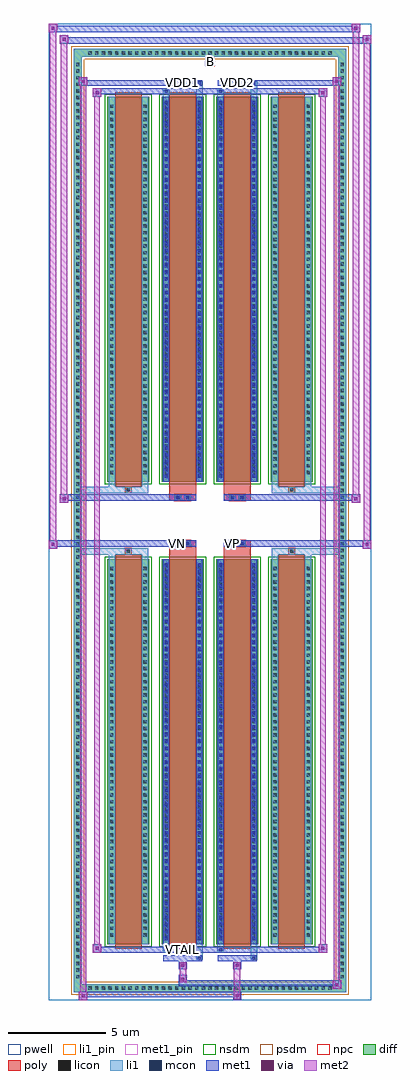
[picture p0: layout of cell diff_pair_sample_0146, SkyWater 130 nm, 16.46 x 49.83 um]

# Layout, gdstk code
import gdstk
lib = gdstk.Library(unit=1e-6, precision=5e-09)
def R(c, l, rs):  # rectangles x0, y0, x1, y1
    for r in rs: c.add(gdstk.rectangle(r[:2], r[2:], *l))
def A(c, l, x, y, w, h, nx, ny, dx, dy):  # array of equal rectangles
    R(c, l, [(x+i*dx, y+j*dy, x+i*dx+w, y+j*dy+h) for i in range(nx) for j in range(ny)])
def P(c, l, *ps):  # polygons
    for p in ps: c.add(gdstk.Polygon(p, *l))
pwell = (64, 44)
diff = (65, 20)
poly = (66, 20)
licon = (66, 44)
li1_pin = (67, 16)
li1 = (67, 20)
mcon = (67, 44)
met1_pin = (68, 16)
met1 = (68, 20)
via = (68, 44)
met2 = (69, 20)
nsdm = (93, 44)
psdm = (94, 20)
npc = (95, 20)

diff_pair_sample_0146 = lib.new_cell('diff_pair_sample_0146')
R(diff_pair_sample_0146, pwell, [(-8.23,-24.48,8.23,25.35), (-5.55,-22.67,-0.01,-0.805), (0.01,-22.67,5.55,-0.805), (-5.55,0.805,-0.01,22.67), (0.01,0.805,5.55,22.67)])
A(diff_pair_sample_0146, diff, -6.325, -24.08, 0.41, 0.41, 37, 2, 0.34, 47.75)
A(diff_pair_sample_0146, diff, -6.96, -23.495, 0.41, 0.41, 1, 138, 0, 0.34)
A(diff_pair_sample_0146, diff, 6.55, -23.495, 0.41, 0.41, 1, 138, 0, 0.34)
A(diff_pair_sample_0146, diff, -5.24, -21.625, 2.14, 19.64, 4, 2, 2.78, 23.61)
R(diff_pair_sample_0146, diff, [(-6.325,-24.08,6.325,-23.67), (-6.96,-23.495,-6.55,23.495), (6.55,-23.495,6.96,23.495), (-6.325,23.67,6.325,24.08)])
P(diff_pair_sample_0146, diff, [(6.96,24.08),(-6.96,24.08),(-6.96,-23.67),(-6.55,-23.67),(-6.55,23.67),(6.55,23.67),(6.55,-23.67),(-6.55,-23.67),(-6.96,-23.67),(-6.96,-24.08),(6.96,-24.08)])
A(diff_pair_sample_0146, poly, -4.85, -21.875, 1.36, 20.14, 4, 2, 2.78, 23.61)
R(diff_pair_sample_0146, poly, [(-4.335,-1.735,-4.005,-1.405), (-4.335,-1.735,-4.005,-1.405), (-2.07,-1.735,-0.71,-1.335), (0.71,-1.735,2.07,-1.335), (4.005,-1.735,4.335,-1.405), (4.005,-1.735,4.335,-1.405), (-2.07,-1.335,-0.71,-1.005), (-1.805,-1.335,-1.475,-1.005), (-1.305,-1.335,-0.975,-1.005), (0.71,-1.335,2.07,-1.005), (0.975,-1.335,1.305,-1.005), (1.475,-1.335,1.805,-1.005), (-2.07,1.005,-0.71,1.335), (-1.805,1.005,-1.475,1.335), (-1.305,1.005,-0.975,1.335), (0.71,1.005,2.07,1.335), (0.975,1.005,1.305,1.335), (1.475,1.005,1.805,1.335), (-2.07,1.335,-0.71,1.735), (0.71,1.335,2.07,1.735), (-4.335,1.405,-4.005,1.735), (-4.335,1.405,-4.005,1.735), (4.005,1.405,4.335,1.735), (4.005,1.405,4.335,1.735)])
A(diff_pair_sample_0146, licon, -6.205, -23.96, 0.17, 0.17, 37, 2, 0.34, 47.75)
A(diff_pair_sample_0146, licon, -6.84, -23.375, 0.17, 0.17, 1, 138, 0, 0.34)
A(diff_pair_sample_0146, licon, 6.67, -23.375, 0.17, 0.17, 1, 138, 0, 0.34)
A(diff_pair_sample_0146, licon, -5.1, -21.24, 0.17, 0.17, 1, 56, 0, 0.34)
A(diff_pair_sample_0146, licon, -3.41, -21.24, 0.17, 0.17, 1, 56, 0, 0.34)
A(diff_pair_sample_0146, licon, -2.32, -21.24, 0.17, 0.17, 1, 56, 0, 0.34)
A(diff_pair_sample_0146, licon, -0.63, -21.24, 0.17, 0.17, 1, 56, 0, 0.34)
A(diff_pair_sample_0146, licon, 0.46, -21.24, 0.17, 0.17, 1, 56, 0, 0.34)
A(diff_pair_sample_0146, licon, 2.15, -21.24, 0.17, 0.17, 1, 56, 0, 0.34)
A(diff_pair_sample_0146, licon, 3.24, -21.24, 0.17, 0.17, 1, 56, 0, 0.34)
A(diff_pair_sample_0146, licon, 4.93, -21.24, 0.17, 0.17, 1, 56, 0, 0.34)
A(diff_pair_sample_0146, licon, -5.1, 2.37, 0.17, 0.17, 1, 56, 0, 0.34)
A(diff_pair_sample_0146, licon, -3.41, 2.37, 0.17, 0.17, 1, 56, 0, 0.34)
A(diff_pair_sample_0146, licon, -2.32, 2.37, 0.17, 0.17, 1, 56, 0, 0.34)
A(diff_pair_sample_0146, licon, -0.63, 2.37, 0.17, 0.17, 1, 56, 0, 0.34)
A(diff_pair_sample_0146, licon, 0.46, 2.37, 0.17, 0.17, 1, 56, 0, 0.34)
A(diff_pair_sample_0146, licon, 2.15, 2.37, 0.17, 0.17, 1, 56, 0, 0.34)
A(diff_pair_sample_0146, licon, 3.24, 2.37, 0.17, 0.17, 1, 56, 0, 0.34)
A(diff_pair_sample_0146, licon, 4.93, 2.37, 0.17, 0.17, 1, 56, 0, 0.34)
R(diff_pair_sample_0146, licon, [(-4.255,-1.655,-4.085,-1.485), (4.085,-1.655,4.255,-1.485), (-1.725,-1.255,-1.555,-1.085), (-1.225,-1.255,-1.055,-1.085), (1.055,-1.255,1.225,-1.085), (1.555,-1.255,1.725,-1.085), (-1.725,1.085,-1.555,1.255), (-1.225,1.085,-1.055,1.255), (1.055,1.085,1.225,1.255), (1.555,1.085,1.725,1.255), (-4.255,1.485,-4.085,1.655), (4.085,1.485,4.255,1.655)])
R(diff_pair_sample_0146, li1_pin, [(-0.25,23.17,0.25,23.67)])
A(diff_pair_sample_0146, li1, -6.285, -24.04, 0.33, 0.33, 37, 2, 0.34, 47.75)
A(diff_pair_sample_0146, li1, -6.92, -23.455, 0.33, 0.33, 1, 138, 0, 0.34)
A(diff_pair_sample_0146, li1, 6.59, -23.455, 0.33, 0.33, 1, 138, 0, 0.34)
A(diff_pair_sample_0146, li1, -2.32, -21.43, 0.17, 0.17, 1, 54, 0, 0.36)
A(diff_pair_sample_0146, li1, -0.63, -21.43, 0.17, 0.17, 1, 54, 0, 0.36)
A(diff_pair_sample_0146, li1, 0.46, -21.43, 0.17, 0.17, 1, 54, 0, 0.36)
A(diff_pair_sample_0146, li1, 2.15, -21.43, 0.17, 0.17, 1, 54, 0, 0.36)
A(diff_pair_sample_0146, li1, -5.18, -21.32, 0.33, 0.33, 1, 56, 0, 0.34)
A(diff_pair_sample_0146, li1, -3.49, -21.32, 0.33, 0.33, 1, 56, 0, 0.34)
A(diff_pair_sample_0146, li1, -2.4, -21.32, 0.33, 0.33, 1, 56, 0, 0.34)
A(diff_pair_sample_0146, li1, -0.71, -21.32, 0.33, 0.33, 1, 56, 0, 0.34)
A(diff_pair_sample_0146, li1, 0.38, -21.32, 0.33, 0.33, 1, 56, 0, 0.34)
A(diff_pair_sample_0146, li1, 2.07, -21.32, 0.33, 0.33, 1, 56, 0, 0.34)
A(diff_pair_sample_0146, li1, 3.16, -21.32, 0.33, 0.33, 1, 56, 0, 0.34)
A(diff_pair_sample_0146, li1, 4.85, -21.32, 0.33, 0.33, 1, 56, 0, 0.34)
A(diff_pair_sample_0146, li1, -2.32, 2.18, 0.17, 0.17, 1, 54, 0, 0.36)
A(diff_pair_sample_0146, li1, -0.63, 2.18, 0.17, 0.17, 1, 54, 0, 0.36)
A(diff_pair_sample_0146, li1, 0.46, 2.18, 0.17, 0.17, 1, 54, 0, 0.36)
A(diff_pair_sample_0146, li1, 2.15, 2.18, 0.17, 0.17, 1, 54, 0, 0.36)
A(diff_pair_sample_0146, li1, -5.18, 2.29, 0.33, 0.33, 1, 56, 0, 0.34)
A(diff_pair_sample_0146, li1, -3.49, 2.29, 0.33, 0.33, 1, 56, 0, 0.34)
A(diff_pair_sample_0146, li1, -2.4, 2.29, 0.33, 0.33, 1, 56, 0, 0.34)
A(diff_pair_sample_0146, li1, -0.71, 2.29, 0.33, 0.33, 1, 56, 0, 0.34)
A(diff_pair_sample_0146, li1, 0.38, 2.29, 0.33, 0.33, 1, 56, 0, 0.34)
A(diff_pair_sample_0146, li1, 2.07, 2.29, 0.33, 0.33, 1, 56, 0, 0.34)
A(diff_pair_sample_0146, li1, 3.16, 2.29, 0.33, 0.33, 1, 56, 0, 0.34)
A(diff_pair_sample_0146, li1, 4.85, 2.29, 0.33, 0.33, 1, 56, 0, 0.34)
R(diff_pair_sample_0146, li1, [(-6.96,-24.08,-6.55,-23.67), (-6.96,-24.08,-6.55,-23.67), (-6.55,-24.08,6.55,-23.67), (6.55,-24.08,6.96,-23.67), (6.55,-24.08,6.96,-23.67), (-6.96,-23.67,-6.55,23.67), (6.55,-23.67,6.96,23.67), (-0.71,-22.43,-0.38,-21.625), (-0.63,-22.43,-0.46,-22.26), (2.07,-22.43,2.4,-21.625), (2.15,-22.43,2.32,-22.26), (-2.4,-22,-2.07,-21.625), (-2.32,-22,-2.15,-21.83), (0.38,-22,0.71,-21.625), (0.46,-22,0.63,-21.83), (-5.18,-21.625,-4.85,-1.985), (-3.49,-21.625,-3.16,-1.985), (-2.4,-21.625,-2.07,-1.985), (-0.71,-21.625,-0.38,-1.985), (0.38,-21.625,0.71,-1.985), (2.07,-21.625,2.4,-1.985), (3.16,-21.625,3.49,-1.985), (4.85,-21.625,5.18,-1.985), (-2.32,-21.43,-2.15,-2.18), (-0.63,-21.43,-0.46,-2.18), (0.46,-21.43,0.63,-2.18), (2.15,-21.43,2.32,-2.18), (-5.18,-1.985,-4.85,-1.405), (-3.49,-1.985,-3.16,-1.405), (3.16,-1.985,3.49,-1.405), (4.85,-1.985,5.18,-1.405), (-6.96,-1.735,-4.335,-1.405), (-5.18,-1.735,-4.335,-1.405), (-4.335,-1.735,-4.005,-1.405), (-4.005,-1.735,-3.16,-1.405), (3.16,-1.735,4.005,-1.405), (4.005,-1.735,4.335,-1.405), (4.005,-1.735,6.96,-1.405), (4.335,-1.735,5.18,-1.405), (-1.805,-1.335,-1.475,-1.005), (-1.305,-1.335,-0.975,-1.005), (0.975,-1.335,1.305,-1.005), (1.475,-1.335,1.805,-1.005), (-1.805,1.005,-1.475,1.335), (-1.305,1.005,-0.975,1.335), (0.975,1.005,1.305,1.335), (1.475,1.005,1.805,1.335), (-6.96,1.405,-4.335,1.735), (-5.18,1.405,-4.335,1.735), (-5.18,1.405,-4.85,1.985), (-4.335,1.405,-4.005,1.735), (-4.005,1.405,-3.16,1.735), (-3.49,1.405,-3.16,1.985), (3.16,1.405,4.005,1.735), (3.16,1.405,3.49,1.985), (4.005,1.405,4.335,1.735), (4.005,1.405,6.96,1.735), (4.335,1.405,5.18,1.735), (4.85,1.405,5.18,1.985), (-5.18,1.985,-4.85,21.625), (-3.49,1.985,-3.16,21.625), (-2.4,1.985,-2.07,21.625), (-0.71,1.985,-0.38,21.625), (0.38,1.985,0.71,21.625), (2.07,1.985,2.4,21.625), (3.16,1.985,3.49,21.625), (4.85,1.985,5.18,21.625), (-2.32,2.18,-2.15,21.43), (-0.63,2.18,-0.46,21.43), (0.46,2.18,0.63,21.43), (2.15,2.18,2.32,21.43), (-2.4,21.625,-2.07,22), (-0.71,21.625,-0.38,22.43), (0.38,21.625,0.71,22), (2.07,21.625,2.4,22.43), (-2.32,21.83,-2.15,22), (0.46,21.83,0.63,22), (-0.63,22.26,-0.46,22.43), (2.15,22.26,2.32,22.43), (-6.96,23.67,-6.55,24.08), (-6.96,23.67,-6.55,24.08), (-6.55,23.67,6.55,24.08), (6.55,23.67,6.96,24.08), (6.55,23.67,6.96,24.08)])
A(diff_pair_sample_0146, mcon, -2.32, -21.43, 0.17, 0.17, 1, 54, 0, 0.36)
A(diff_pair_sample_0146, mcon, -0.63, -21.43, 0.17, 0.17, 1, 54, 0, 0.36)
A(diff_pair_sample_0146, mcon, 0.46, -21.43, 0.17, 0.17, 1, 54, 0, 0.36)
A(diff_pair_sample_0146, mcon, 2.15, -21.43, 0.17, 0.17, 1, 54, 0, 0.36)
A(diff_pair_sample_0146, mcon, -2.32, 2.18, 0.17, 0.17, 1, 54, 0, 0.36)
A(diff_pair_sample_0146, mcon, -0.63, 2.18, 0.17, 0.17, 1, 54, 0, 0.36)
A(diff_pair_sample_0146, mcon, 0.46, 2.18, 0.17, 0.17, 1, 54, 0, 0.36)
A(diff_pair_sample_0146, mcon, 2.15, 2.18, 0.17, 0.17, 1, 54, 0, 0.36)
R(diff_pair_sample_0146, mcon, [(-0.63,-22.43,-0.46,-22.26), (2.15,-22.43,2.32,-22.26), (-2.32,-22,-2.15,-21.83), (0.46,-22,0.63,-21.83), (-1.725,-1.255,-1.555,-1.085), (-1.225,-1.255,-1.055,-1.085), (1.055,-1.255,1.225,-1.085), (1.555,-1.255,1.725,-1.085), (-1.725,1.085,-1.555,1.255), (-1.225,1.085,-1.055,1.255), (1.055,1.085,1.225,1.255), (1.555,1.085,1.725,1.255), (-2.32,21.83,-2.15,22), (0.46,21.83,0.63,22), (-0.63,22.26,-0.46,22.43), (2.15,22.26,2.32,22.43)])
R(diff_pair_sample_0146, met1_pin, [(-1.525,-22.04,-1.255,-21.77), (-1.775,-1.295,-1.505,-1.025), (1.005,-1.295,1.275,-1.025), (-1.525,22.22,-1.255,22.49), (1.255,22.22,1.525,22.49)])
A(diff_pair_sample_0146, met1, -2.38, -21.49, 0.29, 0.29, 1, 54, 0, 0.36)
A(diff_pair_sample_0146, met1, -0.69, -21.49, 0.29, 0.29, 1, 54, 0, 0.36)
A(diff_pair_sample_0146, met1, 0.4, -21.49, 0.29, 0.29, 1, 54, 0, 0.36)
A(diff_pair_sample_0146, met1, 2.09, -21.49, 0.29, 0.29, 1, 54, 0, 0.36)
A(diff_pair_sample_0146, met1, -2.38, 2.12, 0.29, 0.29, 1, 54, 0, 0.36)
A(diff_pair_sample_0146, met1, -0.69, 2.12, 0.29, 0.29, 1, 54, 0, 0.36)
A(diff_pair_sample_0146, met1, 0.4, 2.12, 0.29, 0.29, 1, 54, 0, 0.36)
A(diff_pair_sample_0146, met1, 2.09, 2.12, 0.29, 0.29, 1, 54, 0, 0.36)
R(diff_pair_sample_0146, met1, [(-6.69,-24.48,-6.26,-24.05), (1.175,-24.48,1.605,-24.05), (-6.69,-24.34,1.605,-24.05), (6.26,-23.91,6.69,-23.48), (-1.605,-23.77,6.69,-23.48), (-1.605,-23.63,-1.175,-23.2), (-1.605,-22.92,-1.175,-22.49), (1.175,-22.92,1.605,-22.49), (-2.38,-22.49,-0.4,-22.2), (-0.69,-22.49,-0.4,-22.2), (0.4,-22.49,2.38,-22.2), (2.09,-22.49,2.38,-22.2), (-5.98,-22.06,-5.55,-21.63), (-5.98,-22.06,-2.38,-21.77), (-2.38,-22.06,-2.09,-21.77), (-2.38,-22.06,-0.4,-21.77), (-0.4,-22.06,0.4,-21.77), (0.4,-22.06,0.69,-21.77), (0.4,-22.06,2.38,-21.77), (2.38,-22.06,5.98,-21.77), (5.55,-22.06,5.98,-21.63), (-2.38,-21.625,-2.09,-1.985), (-0.69,-21.625,-0.4,-1.985), (0.4,-21.625,0.69,-1.985), (2.09,-21.625,2.38,-1.985), (-8.23,-1.435,-7.8,-1.005), (7.8,-1.435,8.23,-1.005), (-8.23,-1.335,-0.71,-1.005), (-2.07,-1.335,-0.71,-1.005), (0.71,-1.335,2.07,-1.005), (0.71,-1.335,8.23,-1.005), (-1.785,-1.315,-1.495,-1.025), (-1.285,-1.315,-0.995,-1.025), (0.995,-1.315,1.285,-1.025), (1.495,-1.315,1.785,-1.025), (-7.66,0.905,-7.23,1.335), (7.23,0.905,7.66,1.335), (-7.66,1.005,-2.07,1.335), (-2.07,1.005,-0.71,1.335), (0.71,1.005,2.07,1.335), (2.07,1.005,7.66,1.335), (-1.785,1.025,-1.495,1.315), (-1.285,1.025,-0.995,1.315), (0.995,1.025,1.285,1.315), (1.495,1.025,1.785,1.315), (-2.38,1.985,-2.09,21.625), (-0.69,1.985,-0.4,21.625), (0.4,1.985,0.69,21.625), (2.09,1.985,2.38,21.625), (-5.98,21.63,-5.55,22.06), (5.55,21.63,5.98,22.06), (-5.98,21.77,-2.38,22.06), (-2.38,21.77,-2.09,22.06), (-2.38,21.77,-0.4,22.06), (-0.4,21.77,0.4,22.06), (0.4,21.77,0.69,22.06), (0.4,21.77,2.38,22.06), (2.38,21.77,5.98,22.06), (-6.69,22.2,-6.26,22.63), (-6.69,22.2,-2.38,22.49), (-2.38,22.2,-0.4,22.49), (-0.69,22.2,-0.4,22.49), (0.4,22.2,2.38,22.49), (2.09,22.2,2.38,22.49), (2.38,22.2,6.69,22.49), (6.26,22.2,6.69,22.63), (-7.66,24.35,-7.23,24.78), (-7.66,24.35,-5.55,24.68), (-5.55,24.35,5.55,24.68), (5.55,24.35,8.23,24.68), (7.8,24.35,8.23,24.78), (-8.23,24.92,-7.8,25.35), (-8.23,24.92,-5.55,25.25), (-5.55,24.92,5.55,25.25), (5.55,24.92,7.66,25.25), (7.23,24.92,7.66,25.35)])
R(diff_pair_sample_0146, via, [(-6.55,-24.34,-6.4,-24.19), (1.315,-24.34,1.465,-24.19), (6.4,-23.77,6.55,-23.62), (-1.465,-23.49,-1.315,-23.34), (-1.465,-22.78,-1.315,-22.63), (1.315,-22.78,1.465,-22.63), (-5.84,-21.92,-5.69,-21.77), (5.69,-21.92,5.84,-21.77), (-8.09,-1.295,-7.94,-1.145), (7.94,-1.295,8.09,-1.145), (-7.52,1.045,-7.37,1.195), (7.37,1.045,7.52,1.195), (-5.84,21.77,-5.69,21.92), (5.69,21.77,5.84,21.92), (-6.55,22.34,-6.4,22.49), (6.4,22.34,6.55,22.49), (-7.52,24.49,-7.37,24.64), (7.94,24.49,8.09,24.64), (-8.09,25.06,-7.94,25.21), (7.37,25.06,7.52,25.21)])
R(diff_pair_sample_0146, met2, [(-6.69,-24.48,-6.26,-24.05), (-6.62,-24.48,-6.33,22.63), (-6.33,-24.48,-6.26,-24.05), (-6.64,-24.43,-6.31,-24.1), (1.225,-24.43,1.555,-24.1), (1.225,-24.1,1.555,-22.87), (6.26,-23.91,6.69,-23.48), (6.33,-23.91,6.62,22.63), (6.62,-23.91,6.69,-23.48), (6.31,-23.86,6.64,-23.53), (-1.555,-23.58,-1.225,-23.25), (-1.555,-23.25,-1.225,-22.87), (-1.555,-22.87,-1.225,-22.54), (1.225,-22.87,1.555,-22.54), (-5.98,-22.06,-5.55,-21.63), (-5.91,-22.06,-5.62,22.06), (-5.62,-22.06,-5.55,-21.63), (5.55,-22.06,5.98,-21.63), (5.62,-22.06,5.91,22.06), (5.91,-22.06,5.98,-21.63), (-5.93,-22.01,-5.6,-21.68), (5.6,-22.01,5.93,-21.68), (-8.23,-1.435,-7.8,-1.005), (-8.18,-1.435,-7.85,25.35), (-7.85,-1.435,-7.8,-1.005), (7.8,-1.435,8.23,-1.005), (7.85,-1.435,8.18,24.78), (8.18,-1.435,8.23,-1.005), (-8.18,-1.385,-7.85,-1.055), (7.85,-1.385,8.18,-1.055), (-7.66,0.905,-7.23,1.335), (-7.61,0.905,-7.28,24.78), (-7.28,0.905,-7.23,1.335), (7.23,0.905,7.66,1.335), (7.28,0.905,7.61,25.35), (7.61,0.905,7.66,1.335), (-7.61,0.955,-7.28,1.285), (7.28,0.955,7.61,1.285), (-5.98,21.63,-5.55,22.06), (-5.62,21.63,-5.55,22.06), (5.55,21.63,5.98,22.06), (5.91,21.63,5.98,22.06), (-5.93,21.68,-5.6,22.01), (5.6,21.68,5.93,22.01), (-6.69,22.2,-6.26,22.63), (-6.33,22.2,-6.26,22.63), (6.26,22.2,6.69,22.63), (6.62,22.2,6.69,22.63), (-6.64,22.25,-6.31,22.58), (6.31,22.25,6.64,22.58), (-7.66,24.35,-7.23,24.78), (-7.28,24.35,-7.23,24.78), (7.8,24.35,8.23,24.78), (8.18,24.35,8.23,24.78), (-7.61,24.4,-7.28,24.73), (7.85,24.4,8.18,24.73), (-8.23,24.92,-7.8,25.35), (-7.85,24.92,-7.8,25.35), (7.23,24.92,7.66,25.35), (7.61,24.92,7.66,25.35), (-8.18,24.97,-7.85,25.3), (7.28,24.97,7.61,25.3)])
A(diff_pair_sample_0146, nsdm, -5.37, -21.755, 2.4, 19.9, 4, 2, 2.78, 23.61)
P(diff_pair_sample_0146, psdm, [(7.09,24.21),(-7.09,24.21),(-7.09,-23.54),(-6.42,-23.54),(-6.42,23.54),(6.42,23.54),(6.42,-23.54),(-6.42,-23.54),(-7.09,-23.54),(-7.09,-24.21),(7.09,-24.21)])
R(diff_pair_sample_0146, npc, [(-4.355,-1.755,-3.985,-1.385), (3.985,-1.755,4.355,-1.385), (-1.825,-1.355,-1.455,-0.985), (-1.825,-1.355,-0.955,-0.985), (-1.825,-1.355,-0.955,-0.985), (-1.325,-1.355,-0.955,-0.985), (0.955,-1.355,1.325,-0.985), (0.955,-1.355,1.825,-0.985), (0.955,-1.355,1.825,-0.985), (1.455,-1.355,1.825,-0.985), (-1.825,0.985,-1.455,1.355), (-1.825,0.985,-0.955,1.355), (-1.825,0.985,-0.955,1.355), (-1.325,0.985,-0.955,1.355), (0.955,0.985,1.325,1.355), (0.955,0.985,1.825,1.355), (0.955,0.985,1.825,1.355), (1.455,0.985,1.825,1.355), (-4.355,1.385,-3.985,1.755), (3.985,1.385,4.355,1.755)])
diff_pair_sample_0146.add(gdstk.Label('VTAIL', (-1.39,-21.905), layer=68, texttype=5))
diff_pair_sample_0146.add(gdstk.Label('VN', (-1.64,-1.16), layer=68, texttype=5))
diff_pair_sample_0146.add(gdstk.Label('VP', (1.14,-1.16), layer=68, texttype=5))
diff_pair_sample_0146.add(gdstk.Label('B', (0,23.42), layer=67, texttype=5))
diff_pair_sample_0146.add(gdstk.Label('VDD2', (1.39,22.355), layer=68, texttype=5))
diff_pair_sample_0146.add(gdstk.Label('VDD1', (-1.39,22.355), layer=68, texttype=5))

lib.write_gds('diff_pair_sample_0146.gds')
